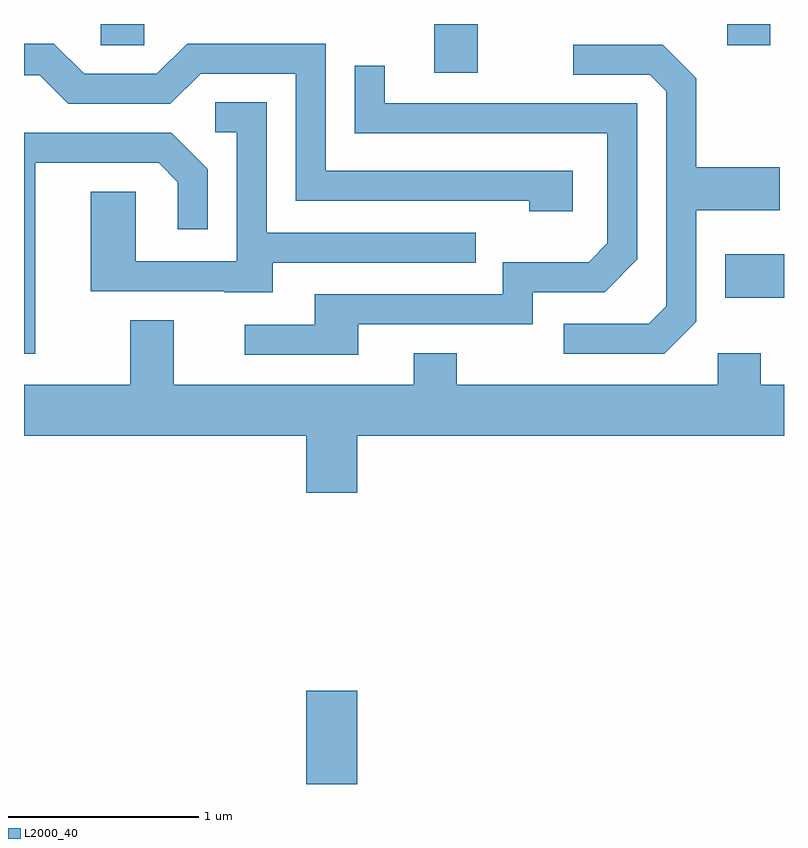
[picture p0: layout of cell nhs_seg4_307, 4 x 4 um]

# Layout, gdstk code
import gdstk
lib = gdstk.Library(unit=1e-6, precision=1e-09)
def R(c, l, rs):  # rectangles x0, y0, x1, y1
    for r in rs: c.add(gdstk.rectangle(r[:2], r[2:], *l))
def P(c, l, *ps):  # polygons
    for p in ps: c.add(gdstk.Polygon(p, *l))
L2000_40 = (2000, 40)

nhs_seg4_307 = lib.new_cell('nhs_seg4_307')
R(nhs_seg4_307, L2000_40, [(195.096,1323.982,195.364,1324.474), (197.301,1326.541,197.611,1326.769), (195.771,1327.726,195.999,1327.982), (194.016,1327.871,194.244,1327.982), (197.311,1327.871,197.539,1327.982)])
P(nhs_seg4_307, L2000_40, [(196.499,1327.209),(195.199,1327.209),(195.199,1327.879),(194.469,1327.879),(194.309,1327.719),(193.927,1327.719),(193.767,1327.879),(193.611,1327.879),(193.611,1327.711),(193.694,1327.711),(193.844,1327.561),(194.382,1327.561),(194.542,1327.721),(195.041,1327.721),(195.041,1327.051),(196.271,1327.051),(196.271,1326.996),(196.499,1326.996)],
  [(197.149,1326.414),(197.149,1327.001),(197.589,1327.001),(197.589,1327.229),(197.149,1327.229),(197.149,1327.697),(196.972,1327.874),(196.503,1327.874),(196.503,1327.716),(196.904,1327.716),(196.991,1327.629),(196.991,1326.497),(196.899,1326.404),(196.453,1326.404),(196.453,1326.246),(196.982,1326.246)],
  [(195.369,1326.401),(196.289,1326.401),(196.289,1326.571),(196.667,1326.571),(196.839,1326.744),(196.839,1327.564),(195.509,1327.564),(195.509,1327.763),(195.351,1327.763),(195.351,1327.406),(196.681,1327.406),(196.681,1326.827),(196.584,1326.729),(196.131,1326.729),(196.131,1326.559),(195.141,1326.559),(195.141,1326.399),(194.773,1326.399),(194.773,1326.241),(195.369,1326.241)],
  [(194.919,1326.726),(195.988,1326.726),(195.988,1326.884),(194.889,1326.884),(194.889,1327.569),(194.618,1327.569),(194.618,1327.411),(194.731,1327.411),(194.731,1326.734),(194.199,1326.734),(194.199,1327.099),(193.961,1327.099),(193.961,1326.576),(194.665,1326.576),(194.665,1326.571),(194.919,1326.571)],
  [(193.669,1327.251),(194.319,1327.251),(194.421,1327.149),(194.421,1326.903),(194.579,1326.903),(194.579,1327.217),(194.387,1327.409),(193.611,1327.409),(193.611,1326.246),(193.669,1326.246)],
  [(195.364,1325.816),(197.611,1325.816),(197.611,1326.084),(197.489,1326.084),(197.489,1326.249),(197.261,1326.249),(197.261,1326.084),(195.889,1326.084),(195.889,1326.249),(195.661,1326.249),(195.661,1326.084),(194.399,1326.084),(194.399,1326.424),(194.171,1326.424),(194.171,1326.084),(193.611,1326.084),(193.611,1325.816),(195.096,1325.816),(195.096,1325.516),(195.364,1325.516)])

lib.write_gds('nhs_seg4_307.gds')
